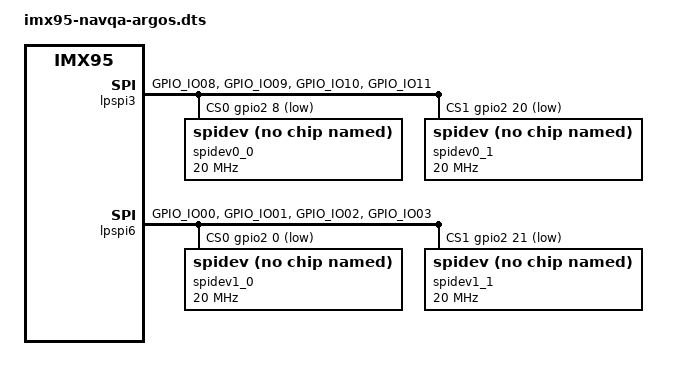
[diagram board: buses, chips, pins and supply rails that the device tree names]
// SPDX-License-Identifier: (GPL-2.0+ OR MIT)
/*
 * Copyright 2025 NXP
 */

#include "imx95-navqa.dts"

&lpuart5 {
	status = "disabled";
};

&lpspi3 {
	fsl,spi-num-chipselects = <2>;
	pinctrl-names = "default", "sleep";
	pinctrl-0 = <&pinctrl_lpspi3>;
	pinctrl-1 = <&pinctrl_lpspi3>;
	cs-gpios = <&gpio2 8 GPIO_ACTIVE_LOW>, <&gpio2 20 GPIO_ACTIVE_LOW>;
	dmas = <>;
	dma-names = "";

	status = "okay";

	spidev0_0@0 {
		compatible = "spidev";
		reg = <0>; // Chip select 0
		spi-max-frequency = <20000000>; // 20 MHz
	};

	spidev0_1@1 {
		compatible = "spidev";
		reg = <1>; // Chip select 1
		spi-max-frequency = <20000000>; // 20 MHz
	};
};

&lpspi6 {
	fsl,spi-num-chipselects = <2>;
	pinctrl-names = "default", "sleep";
	pinctrl-0 = <&pinctrl_lpspi6>;
	pinctrl-1 = <&pinctrl_lpspi6>;
	cs-gpios = <&gpio2 0 GPIO_ACTIVE_LOW>, <&gpio2 21 GPIO_ACTIVE_LOW>;
	dmas = <>;
	dma-names = "";

	status = "okay";

	spidev1_0@0 {
		compatible = "spidev";
		reg = <0>; // Chip select 0
		spi-max-frequency = <20000000>; // 20 MHz
	};

	spidev1_1@1 {
		compatible = "spidev";
		reg = <1>; // Chip select 1
		spi-max-frequency = <20000000>; // 20 MHz
	};
};

/*
 * The second PCS's of both SPI busses are set to GPIO by default.
 * Linux has no access rights to these PINS so it will not touch them.
 * Make sure no M7 software is running because it can change the mux setting.
 * (IMX95_PAD_GPIO_IO21__GPIO2_IO_BIT20 and IMX95_PAD_GPIO_IO20__GPIO2_IO_BIT21)
 */

&scmi_iomuxc {
        pinctrl_lpspi6: lpspi6grp {
		fsl,pins = <
			IMX95_PAD_GPIO_IO00__GPIO2_IO_BIT0	0x31e
			IMX95_PAD_GPIO_IO01__LPSPI6_SIN 	0x31e
			IMX95_PAD_GPIO_IO02__LPSPI6_SOUT        0x31e
			IMX95_PAD_GPIO_IO03__LPSPI6_SCK 	0x31e
		>;
	};

	pinctrl_lpspi3: lpspi3grp {
		fsl,pins = <
			IMX95_PAD_GPIO_IO08__GPIO2_IO_BIT8	0x31e
			IMX95_PAD_GPIO_IO09__LPSPI3_SIN 	0x31e
			IMX95_PAD_GPIO_IO10__LPSPI3_SOUT        0x31e
			IMX95_PAD_GPIO_IO11__LPSPI3_SCK 	0x31e
		>;
	};
};

&gpio2 {
	status = "okay";
};

&lpi2c3 {
	/delete-node/ ov5640@3c;
};

&lpi2c4 {
	/delete-node/ ov5640@3c;
};

/ {
	dummy_csi0: dummy_csi0 {
		compatible = "raspberrypi,dummy-csi2-sensor";
		status = "okay";

		ports {
			#address-cells = <1>;
			#size-cells = <0>;

			port@0 {
				reg = <0>;
			};

			port@1 {
				reg = <1>;
			};

			port@2 {
				reg = <2>;
				dummy_csi0_out: endpoint {
					remote-endpoint = <&mipi_csi0_ep>;
					data-lanes = <1>;
					clock-lanes = <0>;
					clock-noncontinuous;
				};
			};
		};
	};
};

/* Override to use dummy csi device and single lane */

&mipi_csi0_ep {
	remote-endpoint = <&dummy_csi0_out>;
	data-lanes = <1>;
	clock-lanes = <0>;
	clock-noncontinuous;
};

/* Disable CSI1 port formatter & ISI */

&mipi_csi1 {
	status = "disabled";
    /delete-node/ ports;
};

&csi_pixel_formatter_1 {
	status = "disabled";
    /delete-node/ ports;
};

&isi {
	ports {
		/delete-node/ port@3;
	};
};
